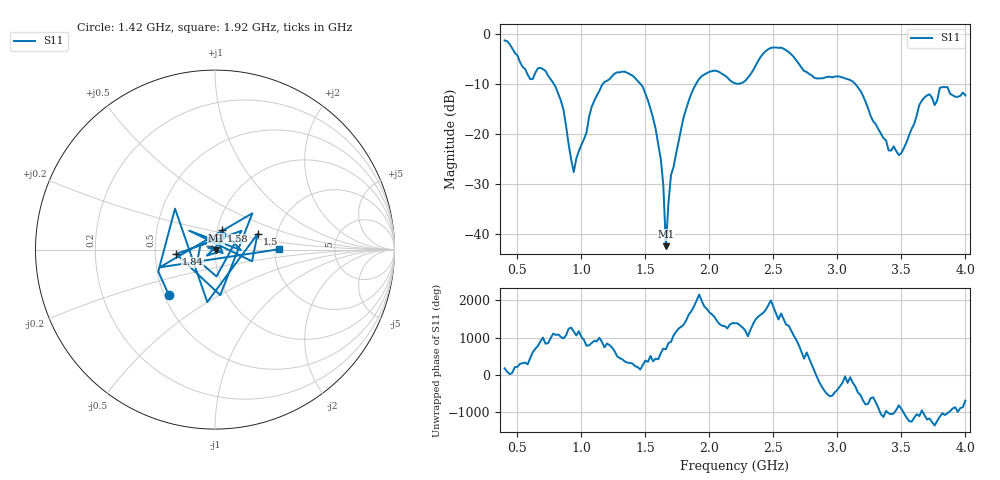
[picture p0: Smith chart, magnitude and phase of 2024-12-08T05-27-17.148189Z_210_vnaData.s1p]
!Created with skrf (http://scikit-rf.org).
# Hz S RI R 50.0
!freq ReS11 ImS11
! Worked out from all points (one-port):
!   181 points, 400 MHz to 4 GHz, reference 50 ohm
!   lowest |S11| = -42.4 dB at 1.66 GHz (marker M1), VSWR 1.02, Z = 50.6 - j0.489 ohm
!   |S11| at or under -10 dB: 784.7 MHz to 1.168 GHz (383.1 MHz wide, 39.2 % of centre); 1.462 GHz to 1.896 GHz (433.3 MHz wide, 25.8 % of centre); 3.14 GHz to end of sweep
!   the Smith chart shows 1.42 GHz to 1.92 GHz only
!   S11 on the Smith chart (normalised r, x): 1.42 GHz: 0.53, -0.31; 1.5 GHz: 1.59, +0.30; 1.58 GHz: 1.05, +0.23; 1.84 GHz: 0.64, -0.03; 1.92 GHz: 2.11, +0.01
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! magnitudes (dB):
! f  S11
! 400 MHz  -1.3
! 600 MHz  -9.0
! 720 MHz  -7.4
! 860 MHz  -15.2
! 940 MHz  -27.6
! 1.1 GHz  -13.4
! 1.3 GHz  -7.7
! 1.42 GHz  -8.8
! 1.5 GHz  -12.0
! 1.58 GHz  -19.0
! 1.64 GHz  -30.2
! 1.66 GHz  -42.4
! 1.7 GHz  -28.2
! 1.76 GHz  -21.4
! 1.84 GHz  -13.2
! 1.92 GHz  -9.0
! 2.04 GHz  -7.3
! 2.2 GHz  -9.9
! 2.48 GHz  -2.8
! 2.66 GHz  -4.6
! 2.82 GHz  -8.8
! 3.1 GHz  -9.2
! 3.4 GHz  -23.3
! 3.48 GHz  -24.2
! 3.56 GHz  -20.3
! 3.7 GHz  -12.3
! 3.76 GHz  -14.2
! 4 GHz  -12.3
